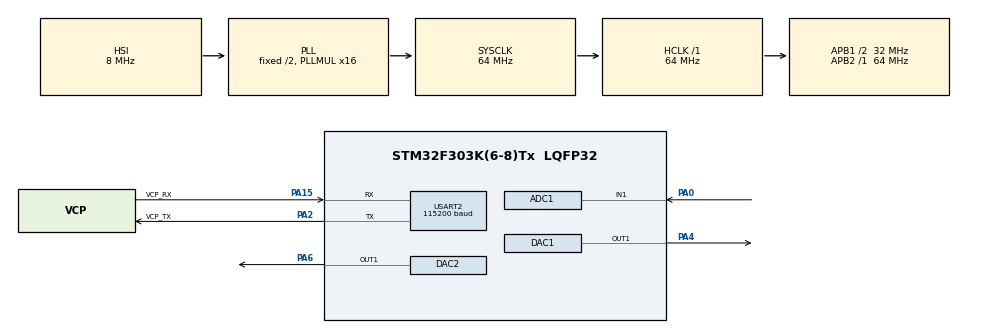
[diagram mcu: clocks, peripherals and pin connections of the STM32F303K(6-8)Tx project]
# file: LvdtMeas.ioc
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ADC1.Channel-0\#ChannelRegularConversion=ADC_CHANNEL_1
ADC1.ContinuousConvMode=DISABLE
ADC1.DMAContinuousRequests=DISABLE
ADC1.ExternalTrigConv=ADC_EXTERNALTRIGCONV_T3_TRGO
ADC1.NbrOfConversionFlag=1
ADC1.Offset-0\#ChannelRegularConversion=0
ADC1.OffsetNumber-0\#ChannelRegularConversion=ADC_OFFSET_NONE
ADC1.Rank-0\#ChannelRegularConversion=1
ADC1.SamplingTime-0\#ChannelRegularConversion=ADC_SAMPLETIME_1CYCLE_5
ADC1.SamplingTimeOPAMP-0\#ChannelRegularConversion=ADC_SAMPLETIME_61CYCLES_5
ADC1.SubFamily=STM32F303x8
ADC1.master=1
DAC1.DAC_Trigger=DAC_TRIGGER_T2_TRGO
DAC2.DAC_Trigger=DAC_TRIGGER_SOFTWARE
Dma.ADC1.1.Direction=DMA_PERIPH_TO_MEMORY
Dma.ADC1.1.Instance=DMA1_Channel1
Dma.ADC1.1.MemDataAlignment=DMA_MDATAALIGN_HALFWORD
Dma.ADC1.1.MemInc=DMA_MINC_ENABLE
Dma.ADC1.1.Mode=DMA_NORMAL
Dma.ADC1.1.PeriphDataAlignment=DMA_PDATAALIGN_HALFWORD
Dma.ADC1.1.PeriphInc=DMA_PINC_DISABLE
Dma.ADC1.1.Priority=DMA_PRIORITY_LOW
Dma.DAC1_CH1.0.Direction=DMA_MEMORY_TO_PERIPH
Dma.DAC1_CH1.0.Instance=DMA1_Channel3
Dma.DAC1_CH1.0.MemDataAlignment=DMA_MDATAALIGN_WORD
Dma.DAC1_CH1.0.MemInc=DMA_MINC_ENABLE
Dma.DAC1_CH1.0.Mode=DMA_CIRCULAR
Dma.DAC1_CH1.0.PeriphDataAlignment=DMA_PDATAALIGN_WORD
Dma.DAC1_CH1.0.PeriphInc=DMA_PINC_DISABLE
Dma.DAC1_CH1.0.Priority=DMA_PRIORITY_LOW
Dma.Request0=DAC1_CH1
Dma.Request1=ADC1
Mcu.Family=STM32F3
Mcu.Name=STM32F303K(6-8)Tx
Mcu.Package=LQFP32
NVIC.DMA1_Channel1_IRQn=true\:0\:0\:false\:false\:true\:false\:true\:true
NVIC.DMA1_Channel3_IRQn=true\:0\:0\:false\:false\:true\:false\:true\:true
NVIC.PriorityGroup=NVIC_PRIORITYGROUP_4
NVIC.USART2_IRQn=true\:0\:0\:false\:false\:true\:true\:true\:true
PA0.Mode=IN1-Single-Ended
PA0.Signal=ADC1_IN1
PA13.GPIO_Label=SWDIO
PA13.Mode=Serial_Wire
PA13.Signal=SYS_JTMS-SWDIO
PA14.GPIO_Label=SWCLK
PA14.Mode=Serial_Wire
PA14.Signal=SYS_JTCK-SWCLK
PA15.GPIO_Label=VCP_RX
PA15.Mode=Asynchronous
PA15.Signal=USART2_RX
PA2.GPIO_Label=VCP_TX
PA2.Mode=Asynchronous
PA2.Signal=USART2_TX
PA4.Signal=COMP_DAC11_group
PA6.Signal=COMP_DAC21_group
PF0\ /\ OSC_IN.GPIO_Label=MCO
PF0\ /\ OSC_IN.Mode=HSE-External-Clock-Source
PF0\ /\ OSC_IN.Signal=RCC_OSC_IN
ProjectManager.HeapSize=0x200
ProjectManager.StackSize=0x400
ProjectManager.TargetToolchain=STM32CubeIDE
RCC.AHBFreq_Value=64000000
RCC.APB1CLKDivider=RCC_HCLK_DIV2
RCC.APB1Freq_Value=32000000
RCC.APB1TimFreq_Value=64000000
RCC.APB2Freq_Value=64000000
RCC.APB2TimFreq_Value=64000000
RCC.CortexFreq_Value=64000000
RCC.HCLKFreq_Value=64000000
RCC.HSE_VALUE=32000000
RCC.HSI_VALUE=8000000
RCC.PLLMUL=RCC_PLL_MUL16
RCC.SYSCLKFreq_VALUE=64000000
RCC.SYSCLKSourceVirtual=RCC_SYSCLKSOURCE_PLLCLK
SH.COMP_DAC11_group.0=DAC1_OUT1,DAC_OUT1
SH.COMP_DAC21_group.0=DAC2_OUT1,Switch_Enable_OUT1
TIM2.AutoReloadPreload=TIM_AUTORELOAD_PRELOAD_ENABLE
TIM2.Period=24
TIM2.TIM_MasterOutputTrigger=TIM_TRGO_UPDATE
TIM2.TIM_MasterSlaveMode=TIM_MASTERSLAVEMODE_ENABLE
TIM3.AutoReloadPreload=TIM_AUTORELOAD_PRELOAD_ENABLE
TIM3.Period=2
TIM3.TIM_MasterOutputTrigger=TIM_TRGO_UPDATE
USART2.BaudRate=115200
USART2.VirtualMode-Asynchronous=VM_ASYNC
VP_TIM2_VS_ClockSourceINT.Mode=Internal
VP_TIM3_VS_ClockSourceITR.Mode=TriggerSource_ITR1
VP_TIM3_VS_ControllerModeClock.Mode=Clock Mode
board=NUCLEO-F303K8

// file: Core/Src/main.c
/* USER CODE BEGIN Header */
/**
  ******************************************************************************
  * @file           : main.c
  * @brief          : Main program body
  ******************************************************************************
  * @attention
  *
  * Copyright (c) 2025 STMicroelectronics.
  * All rights reserved.
  *
  * This software is licensed under terms that can be found in the LICENSE file
  * in the root directory of this software component.
  * If no LICENSE file comes with this software, it is provided AS-IS.
  *
  ******************************************************************************
  */
/* USER CODE END Header */
#include "main.h"

/* USER CODE BEGIN Includes */
#define UART_TIMEOUT 9999
/* USER CODE END Includes */

/* USER CODE BEGIN PD */
#define SKIP_TRANSIENT 15
#define PT1_ALPHA 0.5
/* USER CODE END PD */

ADC_HandleTypeDef hadc1;
DMA_HandleTypeDef hdma_adc1;

DAC_HandleTypeDef hdac1;
DAC_HandleTypeDef hdac2;
DMA_HandleTypeDef hdma_dac1_ch1;

TIM_HandleTypeDef htim2;
TIM_HandleTypeDef htim3;

UART_HandleTypeDef huart2;

void SystemClock_Config(void);
static void MX_GPIO_Init(void);
static void MX_DMA_Init(void);
static void MX_USART2_UART_Init(void);
static void MX_DAC1_Init(void);
static void MX_TIM2_Init(void);
static void MX_DAC2_Init(void);
static void MX_ADC1_Init(void);
static void MX_TIM3_Init(void);

/* USER CODE BEGIN 0 */
float amp = 0;
float phase = 0;
float offset = 0;
float measValue = 0;
float measValFiltered = 0;
float calibPhase = 0;
int nrCalibPoints = 0;

uint32_t dac2Offset = 0;

uint32_t dacData[NO_POINTS_DAC];

uint16_t adcData[NO_POINTS_ADC];
uint16_t adcDataUart[NO_POINTS_ADC];
uint16_t adcDataUart2[NO_POINTS_ADC];

void createSinewave(uint32_t * sendData, float amp, float phase, float dw, int noPoints){

	float gain = amp* 0.5 * 0xFFF; // 12-bit DAC
	uint32_t offset = 0xFFF * 0.48;

	for(int i=0; i<noPoints; i++){
		sendData[i] = (uint32_t) gain*sinf(i*dw + phase/180.0 * M_PI) + offset;
	}

}

void uart_send_int(uint32_t i){
	uint32_t sendInt = i;
	HAL_UART_Transmit(&huart2, &sendInt, 4, UART_TIMEOUT);
}

uint8_t uartRecBuff[7];
uint8_t uartSendBuff[7];
uint8_t cmd = 0;
void uartInterrupt(void){
	float sinePars[3];
	cmd = uartRecBuff[0];

	  if(cmd == 1){
		  uart_send_int(1);

	  }else if(cmd == 2){
		  uart_send_int(sizeof(adcDataUart));
		  HAL_UART_Transmit(&huart2, (uint8_t*) adcDataUart, sizeof(adcData), UART_TIMEOUT);
	  }
	  else if(cmd == 3){
	  		  uart_send_int(sizeof(adcDataUart2));
	  		  HAL_UART_Transmit(&huart2, (uint8_t*) adcDataUart2, sizeof(adcData), UART_TIMEOUT);
	  	  }
	  else if(cmd == 4){
		  	  sinePars[0] = amp;
		  	  sinePars[1] = phase;
		  	  sinePars[2] = offset;
	  		  uart_send_int(sizeof(sinePars));
	  		  HAL_UART_Transmit(&huart2, (uint8_t*) sinePars, sizeof(sinePars), UART_TIMEOUT);
	  }else if(cmd == 5){
  		  uart_send_int(sizeof(measValue));
  		  HAL_UART_Transmit(&huart2, (uint8_t*) &measValue, sizeof(measValue), UART_TIMEOUT);
	  }else if(cmd == 6){
  		  uart_send_int(sizeof(measValFiltered));
  		  HAL_UART_Transmit(&huart2, (uint8_t*) &measValFiltered, sizeof(measValFiltered), UART_TIMEOUT);
	  }

	  cmd = 0;
	  HAL_UART_Receive_IT(&huart2, &uartRecBuff, 1);
}

void clearAdcData(){
	  for(int i=0;i<NO_POINTS_ADC;i++){
		  adcData[i] = 0;
	  }
}

/* USER CODE END 0 */

int main(void)
{

  /* MCU Configuration--------------------------------------------------------*/

  /* Reset of all peripherals, Initializes the Flash interface and the Systick. */
  HAL_Init();

  /* USER CODE BEGIN Init */

  // 0.7 peak2peak = 4.3V
  // 0.8 peak2peak = 4.9V
  // 0.88 peak2peak = 5.4V
  float dw = 2*M_PI/NO_POINTS_DAC;
  uint32_t idleDAC_value = (0xFFF)/2;
  //0.88
  createSinewave(dacData, 0.8, 0.0, dw, NO_POINTS_DAC);
  clearAdcData();

  /* USER CODE END Init */

  /* Configure the system clock */
  SystemClock_Config();

  /* Initialize all configured peripherals */
  MX_GPIO_Init();
  MX_DMA_Init();
  MX_USART2_UART_Init();
  MX_DAC1_Init();
  MX_TIM2_Init();
  MX_DAC2_Init();
  MX_ADC1_Init();
  MX_TIM3_Init();
  /* USER CODE BEGIN 2 */

  // How many dac samples per adc samples, adc runs slower -> higher period
  //htim3.Init.Period = htim2.Init.Period*ADC_DAC_RATIO;
  //if (HAL_TIM_Base_Init(&htim3) != HAL_OK)
  //{
  //  Error_Handler();
  //}
  //HAL_UART_Transmit(&huart2, "started\n", 8, UART_TIMEOUT);

  HAL_DAC_Init(&hdac1);
  HAL_DAC_Init(&hdac2);
  dac2Offset = 0xFFF/2;
  HAL_DAC_SetValue(&hdac2, DAC_CHANNEL_1, DAC_ALIGN_12B_R, dac2Offset);
  HAL_DAC_Start(&hdac2, DAC_CHANNEL_1);

  HAL_DAC_Start_DMA(&hdac1, DAC_CHANNEL_1, (uint32_t*) dacData, NO_POINTS_DAC, DAC_ALIGN_12B_R);
  HAL_ADC_Start_DMA(&hadc1, (uint32_t*) adcData, NO_POINTS_ADC);

  /* USER CODE END 2 */

  /* Infinite loop */
  /* USER CODE BEGIN WHILE */

  HAL_UART_Receive_IT(&huart2, &uartRecBuff, 1);

  while (1)
  {

	  clearAdcData();
	  HAL_NVIC_DisableIRQ(USART2_IRQn);
	  // Start exication and sensing

	  HAL_DAC_Start_DMA(&hdac1, DAC_CHANNEL_1, (uint32_t*) dacData, NO_POINTS_DAC, DAC_ALIGN_12B_R);
	  HAL_ADC_Start_DMA(&hadc1, (uint32_t*) adcData, NO_POINTS_ADC);
	  HAL_TIM_Base_Start(&htim3);
	  HAL_TIM_Base_Start(&htim2);

	  HAL_Delay(10);

	  HAL_TIM_Base_Stop(&htim2);
	  HAL_TIM_Base_Stop(&htim3);
	  HAL_DAC_Stop_DMA(&hdac1, DAC_CHANNEL_1);
	  HAL_DAC_SetValue(&hdac1, DAC_CHANNEL_1, DAC_ALIGN_12B_R, idleDAC_value);
	  HAL_DAC_Start(&hdac1, DAC_CHANNEL_1);

	  //memcpy(adcDataUart, adcData, sizeof(adcData));
	  for(int i=0;i<NO_POINTS_ADC - SKIP_TRANSIENT;i++){
		  adcDataUart[i] = adcData[i + SKIP_TRANSIENT];
	  }

	  ls_sine_calcSine(adcData + SKIP_TRANSIENT, dw*ADC_DAC_RATIO, NO_POINTS_ADC - 1.5*SKIP_TRANSIENT, &amp, &phase, &offset);

	  measValue = amp;
	  if((phase > 150*3.14/180.0) || (phase < -30*3.14/180.0)){
		  measValue = measValue*-1;
	  }

	  measValFiltered = PT1_ALPHA*measValFiltered + (1-PT1_ALPHA)*measValue;

	  for(int i=0;i< NO_POINTS_ADC;i++){
		  adcDataUart2[i] = (uint16_t) (amp * sinf(i*dw*ADC_DAC_RATIO + phase) + offset);
	  }

	  // Adjust offset
	  uint32_t error = 2000 - offset;
	  dac2Offset += error*0.01;

	  HAL_DAC_SetValue(&hdac2, DAC_CHANNEL_1, DAC_ALIGN_12B_R, dac2Offset);
	  HAL_DAC_Start(&hdac2, DAC_CHANNEL_1);

	  HAL_NVIC_EnableIRQ(USART2_IRQn);
	  HAL_Delay(10);

    /* USER CODE END WHILE */

  }
}

void SystemClock_Config(void)
{
  RCC_OscInitTypeDef RCC_OscInitStruct = {0};
  RCC_ClkInitTypeDef RCC_ClkInitStruct = {0};
  RCC_PeriphCLKInitTypeDef PeriphClkInit = {0};

  /** Initializes the RCC Oscillators according to the specified parameters
  * in the RCC_OscInitTypeDef structure.
  */
  RCC_OscInitStruct.OscillatorType = RCC_OSCILLATORTYPE_HSI;
  RCC_OscInitStruct.HSIState = RCC_HSI_ON;
  RCC_OscInitStruct.HSICalibrationValue = RCC_HSICALIBRATION_DEFAULT;
  RCC_OscInitStruct.PLL.PLLState = RCC_PLL_ON;
  RCC_OscInitStruct.PLL.PLLSource = RCC_PLLSOURCE_HSI;
  RCC_OscInitStruct.PLL.PLLMUL = RCC_PLL_MUL16;
  if (HAL_RCC_OscConfig(&RCC_OscInitStruct) != HAL_OK)
  {
    Error_Handler();
  }

  /** Initializes the CPU, AHB and APB buses clocks
  */
  RCC_ClkInitStruct.ClockType = RCC_CLOCKTYPE_HCLK|RCC_CLOCKTYPE_SYSCLK
                              |RCC_CLOCKTYPE_PCLK1|RCC_CLOCKTYPE_PCLK2;
  RCC_ClkInitStruct.SYSCLKSource = RCC_SYSCLKSOURCE_PLLCLK;
  RCC_ClkInitStruct.AHBCLKDivider = RCC_SYSCLK_DIV1;
  RCC_ClkInitStruct.APB1CLKDivider = RCC_HCLK_DIV2;
  RCC_ClkInitStruct.APB2CLKDivider = RCC_HCLK_DIV1;

  if (HAL_RCC_ClockConfig(&RCC_ClkInitStruct, FLASH_LATENCY_2) != HAL_OK)
  {
    Error_Handler();
  }
  PeriphClkInit.PeriphClockSelection = RCC_PERIPHCLK_ADC12;
  PeriphClkInit.Adc12ClockSelection = RCC_ADC12PLLCLK_DIV1;
  if (HAL_RCCEx_PeriphCLKConfig(&PeriphClkInit) != HAL_OK)
  {
    Error_Handler();
  }
}

static void MX_ADC1_Init(void)
{

  ADC_MultiModeTypeDef multimode = {0};
  ADC_ChannelConfTypeDef sConfig = {0};

  /** Common config
  */
  hadc1.Instance = ADC1;
  hadc1.Init.ClockPrescaler = ADC_CLOCK_ASYNC_DIV1;
  hadc1.Init.Resolution = ADC_RESOLUTION_12B;
  hadc1.Init.ScanConvMode = ADC_SCAN_DISABLE;
  hadc1.Init.ContinuousConvMode = DISABLE;
  hadc1.Init.DiscontinuousConvMode = DISABLE;
  hadc1.Init.ExternalTrigConvEdge = ADC_EXTERNALTRIGCONVEDGE_RISING;
  hadc1.Init.ExternalTrigConv = ADC_EXTERNALTRIGCONV_T3_TRGO;
  hadc1.Init.DataAlign = ADC_DATAALIGN_RIGHT;
  hadc1.Init.NbrOfConversion = 1;
  hadc1.Init.DMAContinuousRequests = DISABLE;
  hadc1.Init.EOCSelection = ADC_EOC_SINGLE_CONV;
  hadc1.Init.LowPowerAutoWait = DISABLE;
  hadc1.Init.Overrun = ADC_OVR_DATA_OVERWRITTEN;
  if (HAL_ADC_Init(&hadc1) != HAL_OK)
  {
    Error_Handler();
  }

  /** Configure the ADC multi-mode
  */
  multimode.Mode = ADC_MODE_INDEPENDENT;
  if (HAL_ADCEx_MultiModeConfigChannel(&hadc1, &multimode) != HAL_OK)
  {
    Error_Handler();
  }

  /** Configure Regular Channel
  */
  sConfig.Channel = ADC_CHANNEL_1;
  sConfig.Rank = ADC_REGULAR_RANK_1;
  sConfig.SingleDiff = ADC_SINGLE_ENDED;
  sConfig.SamplingTime = ADC_SAMPLETIME_1CYCLE_5;
  sConfig.OffsetNumber = ADC_OFFSET_NONE;
  sConfig.Offset = 0;
  if (HAL_ADC_ConfigChannel(&hadc1, &sConfig) != HAL_OK)
  {
    Error_Handler();
  }

}

static void MX_DAC1_Init(void)
{

  DAC_ChannelConfTypeDef sConfig = {0};

  /** DAC Initialization
  */
  hdac1.Instance = DAC1;
  if (HAL_DAC_Init(&hdac1) != HAL_OK)
  {
    Error_Handler();
  }

  /** DAC channel OUT1 config
  */
  sConfig.DAC_Trigger = DAC_TRIGGER_T2_TRGO;
  sConfig.DAC_OutputBuffer = DAC_OUTPUTBUFFER_ENABLE;
  if (HAL_DAC_ConfigChannel(&hdac1, &sConfig, DAC_CHANNEL_1) != HAL_OK)
  {
    Error_Handler();
  }

}

static void MX_DAC2_Init(void)
{

  DAC_ChannelConfTypeDef sConfig = {0};

  /** DAC Initialization
  */
  hdac2.Instance = DAC2;
  if (HAL_DAC_Init(&hdac2) != HAL_OK)
  {
    Error_Handler();
  }

  /** DAC channel OUT1 config
  */
  sConfig.DAC_Trigger = DAC_TRIGGER_SOFTWARE;
  sConfig.DAC_OutputSwitch = DAC_OUTPUTSWITCH_ENABLE;
  if (HAL_DAC_ConfigChannel(&hdac2, &sConfig, DAC_CHANNEL_1) != HAL_OK)
  {
    Error_Handler();
  }

}

static void MX_TIM2_Init(void)
{

  TIM_ClockConfigTypeDef sClockSourceConfig = {0};
  TIM_MasterConfigTypeDef sMasterConfig = {0};

  htim2.Instance = TIM2;
  htim2.Init.Prescaler = 0;
  htim2.Init.CounterMode = TIM_COUNTERMODE_UP;
  htim2.Init.Period = 24;
  htim2.Init.ClockDivision = TIM_CLOCKDIVISION_DIV1;
  htim2.Init.AutoReloadPreload = TIM_AUTORELOAD_PRELOAD_ENABLE;
  if (HAL_TIM_Base_Init(&htim2) != HAL_OK)
  {
    Error_Handler();
  }
  sClockSourceConfig.ClockSource = TIM_CLOCKSOURCE_INTERNAL;
  if (HAL_TIM_ConfigClockSource(&htim2, &sClockSourceConfig) != HAL_OK)
  {
    Error_Handler();
  }
  sMasterConfig.MasterOutputTrigger = TIM_TRGO_UPDATE;
  sMasterConfig.MasterSlaveMode = TIM_MASTERSLAVEMODE_ENABLE;
  if (HAL_TIMEx_MasterConfigSynchronization(&htim2, &sMasterConfig) != HAL_OK)
  {
    Error_Handler();
  }

}

static void MX_TIM3_Init(void)
{

  TIM_SlaveConfigTypeDef sSlaveConfig = {0};
  TIM_MasterConfigTypeDef sMasterConfig = {0};

  htim3.Instance = TIM3;
  htim3.Init.Prescaler = 0;
  htim3.Init.CounterMode = TIM_COUNTERMODE_UP;
  htim3.Init.Period = 2;
  htim3.Init.ClockDivision = TIM_CLOCKDIVISION_DIV1;
  htim3.Init.AutoReloadPreload = TIM_AUTORELOAD_PRELOAD_ENABLE;
  if (HAL_TIM_Base_Init(&htim3) != HAL_OK)
  {
    Error_Handler();
  }
  sSlaveConfig.SlaveMode = TIM_SLAVEMODE_EXTERNAL1;
  sSlaveConfig.InputTrigger = TIM_TS_ITR1;
  if (HAL_TIM_SlaveConfigSynchro(&htim3, &sSlaveConfig) != HAL_OK)
  {
    Error_Handler();
  }
  sMasterConfig.MasterOutputTrigger = TIM_TRGO_UPDATE;
  sMasterConfig.MasterSlaveMode = TIM_MASTERSLAVEMODE_DISABLE;
  if (HAL_TIMEx_MasterConfigSynchronization(&htim3, &sMasterConfig) != HAL_OK)
  {
    Error_Handler();
  }
  /* USER CODE BEGIN TIM3_Init 2 */

  // Set counter to ratio between adc and dac
  htim3.Init.Period = ADC_DAC_RATIO - 1;
  if (HAL_TIM_Base_Init(&htim3) != HAL_OK)
  {
    Error_Handler();
  }
  /* USER CODE END TIM3_Init 2 */

}

static void MX_USART2_UART_Init(void)
{

  huart2.Instance = USART2;
  huart2.Init.BaudRate = 115200;
  huart2.Init.WordLength = UART_WORDLENGTH_8B;
  huart2.Init.StopBits = UART_STOPBITS_1;
  huart2.Init.Parity = UART_PARITY_NONE;
  huart2.Init.Mode = UART_MODE_TX_RX;
  huart2.Init.HwFlowCtl = UART_HWCONTROL_NONE;
  huart2.Init.OverSampling = UART_OVERSAMPLING_16;
  huart2.Init.OneBitSampling = UART_ONE_BIT_SAMPLE_DISABLE;
  huart2.AdvancedInit.AdvFeatureInit = UART_ADVFEATURE_NO_INIT;
  if (HAL_UART_Init(&huart2) != HAL_OK)
  {
    Error_Handler();
  }

}

static void MX_DMA_Init(void)
{

  /* DMA controller clock enable */
  __HAL_RCC_DMA1_CLK_ENABLE();

  /* DMA interrupt init */
  /* DMA1_Channel1_IRQn interrupt configuration */
  HAL_NVIC_SetPriority(DMA1_Channel1_IRQn, 0, 0);
  HAL_NVIC_EnableIRQ(DMA1_Channel1_IRQn);
  /* DMA1_Channel3_IRQn interrupt configuration */
  HAL_NVIC_SetPriority(DMA1_Channel3_IRQn, 0, 0);
  HAL_NVIC_EnableIRQ(DMA1_Channel3_IRQn);

}

static void MX_GPIO_Init(void)
{

  /* GPIO Ports Clock Enable */
  __HAL_RCC_GPIOF_CLK_ENABLE();
  __HAL_RCC_GPIOA_CLK_ENABLE();

}

void Error_Handler(void)
{
  __disable_irq();
  while (1)
  {
  }
}
